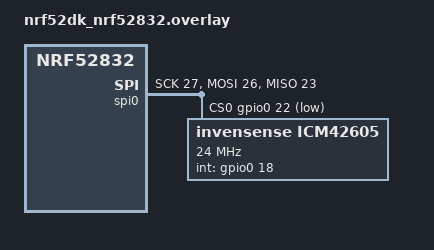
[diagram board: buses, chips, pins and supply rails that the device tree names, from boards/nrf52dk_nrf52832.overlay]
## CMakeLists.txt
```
#
# Copyright (c) 2019 TDK Invensense
#
# SPDX-License-Identifier: Apache-2.0
#

cmake_minimum_required(VERSION 3.13.1)
find_package(Zephyr REQUIRED HINTS $ENV{ZEPHYR_BASE})
project(icm42605)

FILE(GLOB app_sources src/*.c)
target_sources(app PRIVATE ${app_sources})
```

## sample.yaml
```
#
# Copyright (c) 2020 TDK Invensense
#
# SPDX-License-Identifier: Apache-2.0
#

sample:
  name: ICM42605 Sensor Sample
tests:
  sample.sensor.icm42605:
    build_only: true
    platform_allow: nrf52dk_nrf52832
    integration_platforms:
      - nrf52dk_nrf52832
    tags: sensors
```

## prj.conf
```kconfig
#
# Copyright (c) 2019 Nordic Semiconductor ASA
#
# SPDX-License-Identifier: Apache-2.0
#

CONFIG_SPI=y
CONFIG_SENSOR=y
CONFIG_ICM42605=y
CONFIG_ICM42605_TRIGGER_OWN_THREAD=y
```

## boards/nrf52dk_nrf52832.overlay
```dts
/*
 * Copyright (c) 2020 TDK Invensense
 *
 * SPDX-License-Identifier: Apache-2.0
 */

&spi0 {
	compatible = "nordic,nrf-spi";
	status = "okay";
	sck-pin = <27>;
	mosi-pin = <26>;
	miso-pin = <23>;
	cs-gpios = <&gpio0 22 GPIO_ACTIVE_LOW>;
	icm42605@0 {
		compatible = "invensense,icm42605";
		spi-max-frequency = <24000000>;
		reg = <0>;
		label = "ICM42605";
		int-gpios = <&gpio0 18 GPIO_ACTIVE_HIGH>;
	};
};
```

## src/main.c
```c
/*
 * Copyright (c) 2020 TDK Invensense
 *
 * SPDX-License-Identifier: Apache-2.0
 */

#include <zephyr.h>
#include <device.h>
#include <drivers/sensor.h>
#include <stdio.h>

static const char *now_str(void)
{
	static char buf[16]; /* ...HH:MM:SS.MMM */
	uint32_t now = k_uptime_get_32();
	unsigned int ms = now % MSEC_PER_SEC;
	unsigned int s;
	unsigned int min;
	unsigned int h;

	now /= MSEC_PER_SEC;
	s = now % 60U;
	now /= 60U;
	min = now % 60U;
	now /= 60U;
	h = now;

	snprintf(buf, sizeof(buf), "%u:%02u:%02u.%03u",
		 h, min, s, ms);
	return buf;
}

static int process_icm42605(const struct device *dev)
{
	struct sensor_value temperature;
	struct sensor_value accel[3];
	struct sensor_value gyro[3];
	int rc = sensor_sample_fetch(dev);

	if (rc == 0) {
		rc = sensor_channel_get(dev, SENSOR_CHAN_ACCEL_XYZ,
					accel);
	}
	if (rc == 0) {
		rc = sensor_channel_get(dev, SENSOR_CHAN_GYRO_XYZ,
					gyro);
	}
	if (rc == 0) {
		rc = sensor_channel_get(dev, SENSOR_CHAN_DIE_TEMP,
					&temperature);
	}
	if (rc == 0) {
		printf("[%s]:% g Cel\n"
		       "  accel % f % f % f m/s/s\n"
		       "  gyro  % f % f % f rad/s\n",
		       now_str(),
		       sensor_value_to_double(&temperature),
		       sensor_value_to_double(&accel[0]),
		       sensor_value_to_double(&accel[1]),
		       sensor_value_to_double(&accel[2]),
		       sensor_value_to_double(&gyro[0]),
		       sensor_value_to_double(&gyro[1]),
		       sensor_value_to_double(&gyro[2]));
	} else {
		printf("sample fetch/get failed: %d\n", rc);
	}

	return rc;
}

static struct sensor_trigger data_trigger;
static struct sensor_trigger tap_trigger;
static struct sensor_trigger double_tap_trigger;

static void handle_icm42605_drdy(const struct device *dev,
				 struct sensor_trigger *trig)
{
	int rc = process_icm42605(dev);

	if (rc != 0) {
		printf("cancelling trigger due to failure: %d\n", rc);
		(void)sensor_trigger_set(dev, trig, NULL);
		return;
	}
}

static void handle_icm42605_tap(const struct device *dev,
				 struct sensor_trigger *trig)
{
	printf("Tap Detected!\n");
}

static void handle_icm42605_double_tap(const struct device *dev,
				 struct sensor_trigger *trig)
{
	printf("Double Tap detected!\n");
}

void main(void)
{
	const char *const label = DT_LABEL(DT_INST(0, invensense_icm42605));
	const struct device *icm42605 = device_get_binding(label);

	if (!icm42605) {
		printf("Failed to find sensor %s\n", label);
		return;
	}

	tap_trigger = (struct sensor_trigger) {
		.type = SENSOR_TRIG_TAP,
		.chan = SENSOR_CHAN_ALL,
	};

	if (sensor_trigger_set(icm42605, &tap_trigger,
			       handle_icm42605_tap) < 0) {
		printf("Cannot configure tap trigger!!!\n");
		return;
	}

	double_tap_trigger = (struct sensor_trigger) {
		.type = SENSOR_TRIG_DOUBLE_TAP,
		.chan = SENSOR_CHAN_ALL,
	};

	if (sensor_trigger_set(icm42605, &double_tap_trigger,
			       handle_icm42605_double_tap) < 0) {
		printf("Cannot configure double tap trigger!!!\n");
		return;
	}

	data_trigger = (struct sensor_trigger) {
		.type = SENSOR_TRIG_DATA_READY,
		.chan = SENSOR_CHAN_ALL,
	};

	if (sensor_trigger_set(icm42605, &data_trigger,
			       handle_icm42605_drdy) < 0) {
		printf("Cannot configure data trigger!!!\n");
		return;
	}

	printf("Configured for triggered sampling.\n");
}
```
